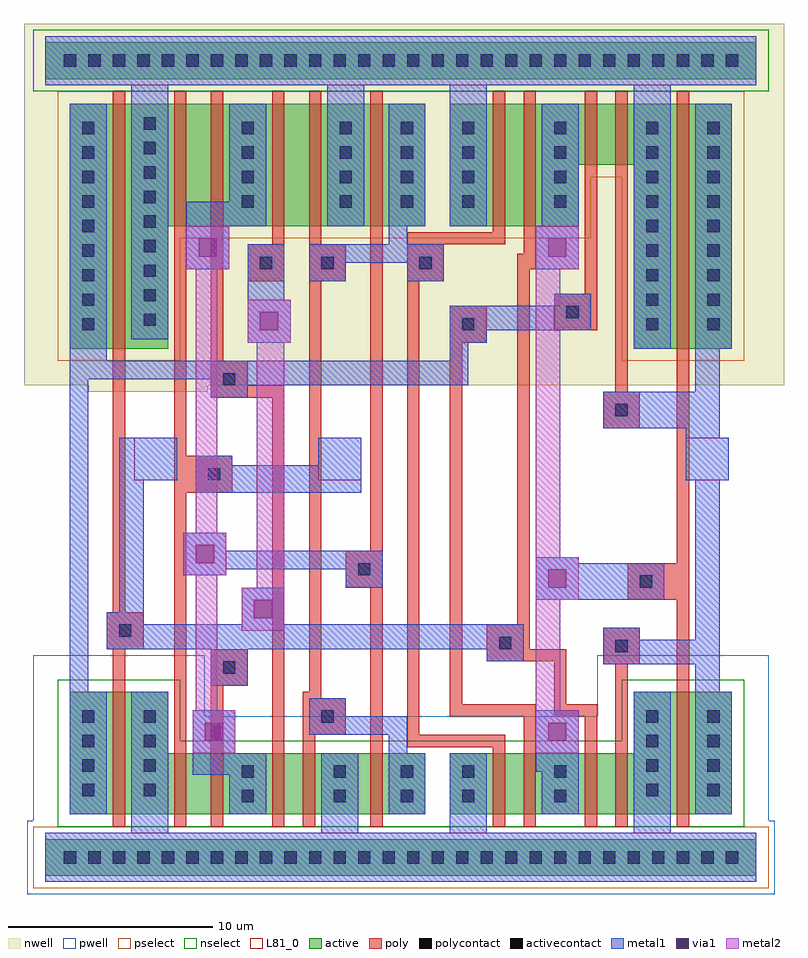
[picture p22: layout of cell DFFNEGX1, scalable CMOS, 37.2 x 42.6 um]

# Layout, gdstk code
import gdstk
lib = gdstk.Library(unit=1e-6, precision=1e-09)
def R(c, l, rs):  # rectangles x0, y0, x1, y1
    for r in rs: c.add(gdstk.rectangle(r[:2], r[2:], *l))
def A(c, l, x, y, w, h, nx, ny, dx, dy):  # array of equal rectangles
    R(c, l, [(x+i*dx, y+j*dy, x+i*dx+w, y+j*dy+h) for i in range(nx) for j in range(ny)])
pwell = (41, 0)
nwell = (42, 0)
active = (43, 0)
pselect = (44, 0)
nselect = (45, 0)
poly = (46, 0)
polycontact = (47, 0)
activecontact = (48, 0)
metal1 = (49, 0)
via1 = (50, 0)
metal2 = (51, 0)
L81_0 = (81, 0)

dffnegx1 = lib.new_cell('DFFNEGX1')
R(dffnegx1, pwell, [(-1.8,-1.8,34.8,1.8), (-1.5,1.8,34.5,6.9), (-1.5,6.9,6.9,9.9), (26.1,6.9,34.5,9.9)])
R(dffnegx1, nwell, [(1.2,22.8,7.05,23.1), (-1.95,23.1,35.25,40.8)])
R(dffnegx1, active, [(-0.9,-0.9,33.9,0.9), (0.3,2.1,17.7,5.1), (18.9,2.1,32.7,5.1), (0.3,5.1,5.1,8.1), (27.9,5.1,32.7,8.1), (0.3,24.9,5.1,30.9), (27.9,24.9,32.7,33.9), (0.3,30.9,17.7,36.9), (18.9,30.9,25.2,33.9), (18.9,33.9,32.7,36.9), (-0.9,38.1,33.9,39.9)])
R(dffnegx1, pselect, [(-1.5,-1.5,34.5,1.5), (-0.3,24.3,5.7,30.3), (27.3,24.3,33.3,33.3), (-0.3,30.3,25.8,33.3), (-0.3,33.3,33.3,37.5)])
R(dffnegx1, nselect, [(-0.3,1.5,33.3,5.7), (-0.3,5.7,5.7,8.7), (27.3,5.7,33.3,8.7), (-1.5,37.5,34.5,40.5)])
R(dffnegx1, poly, [(2.4,1.5,3,10.2), (5.4,1.5,6,17.85), (7.2,1.5,7.8,8.4), (10.2,1.5,10.8,22.5), (11.7,1.5,12.3,6), (15,1.5,15.6,13.2), (21,1.5,21.6,5.4), (22.5,1.5,23.1,6.9), (25.5,1.5,26.1,6.9), (27,1.5,27.6,9.45), (30,1.5,30.6,12.6), (16.8,5.4,21.6,6), (11.7,6,13.8,7.8), (16.8,6,17.4,28.2), (18.9,6.9,23.1,7.5), (24,6.9,26.1,7.5), (18.9,7.5,19.5,25.2), (24,7.5,24.6,9.6), (11.7,7.8,12.6,8.1), (12,8.1,12.6,28.2), (7.2,8.4,9,10.2), (26.4,9.45,28.2,11.25), (20.7,9.6,24.6,10.2), (2.1,10.2,3.9,12), (20.7,10.2,22.8,11.4), (22.2,11.4,22.8,28.8), (2.4,12,3,37.5), (27.6,12.6,30.6,14.4), (13.8,13.2,15.6,15), (30,14.4,30.6,37.5), (15,15,15.6,37.5), (5.4,17.85,8.25,19.65), (5.4,19.65,6,37.5), (26.4,21,28.2,22.8), (7.2,22.5,10.8,23.1), (27,22.8,27.6,37.5), (7.2,23.1,9,24.3), (7.2,24.3,7.8,37.5), (18.9,25.2,20.7,27), (24,25.8,26.1,27.6), (25.5,27.6,26.1,37.5), (9,28.2,10.8,30), (12,28.2,13.8,30), (16.8,28.2,18.6,30), (22.2,28.8,23.1,29.55), (22.5,29.55,23.1,37.5), (10.2,30,10.8,37.5), (12,30,12.6,37.5), (16.8,30,21.6,30.6), (21,30.6,21.6,37.5)])
R(dffnegx1, polycontact, [(12.6,6.6,13.2,7.2), (7.8,9,8.4,9.6), (27,10.05,27.6,10.65), (21.3,10.2,21.9,10.8), (2.7,10.8,3.3,11.4), (28.2,13.2,28.8,13.8), (14.4,13.8,15,14.4), (7.05,18.45,7.65,19.05), (27,21.6,27.6,22.2), (7.8,23.1,8.4,23.7), (19.5,25.8,20.1,26.4), (24.6,26.4,25.2,27), (9.6,28.8,10.2,29.4), (12.6,28.8,13.2,29.4), (17.4,28.8,18,29.4)])
A(dffnegx1, activecontact, 0, -0.3, 0.6, 0.6, 28, 2, 1.2, 39)
A(dffnegx1, activecontact, 0.9, 3, 0.6, 0.6, 1, 4, 0, 1.2)
A(dffnegx1, activecontact, 3.9, 3, 0.6, 0.6, 1, 4, 0, 1.2)
A(dffnegx1, activecontact, 28.5, 3, 0.6, 0.6, 1, 4, 0, 1.2)
A(dffnegx1, activecontact, 31.5, 3, 0.6, 0.6, 1, 4, 0, 1.2)
A(dffnegx1, activecontact, 0.9, 25.8, 0.6, 0.6, 1, 9, 0, 1.2)
A(dffnegx1, activecontact, 28.5, 25.8, 0.6, 0.6, 1, 9, 0, 1.2)
A(dffnegx1, activecontact, 31.5, 25.8, 0.6, 0.6, 1, 9, 0, 1.2)
A(dffnegx1, activecontact, 3.9, 26.02, 0.6, 0.6, 1, 9, 0, 1.2)
A(dffnegx1, activecontact, 8.7, 31.8, 0.6, 0.6, 1, 4, 0, 1.2)
A(dffnegx1, activecontact, 13.5, 31.8, 0.6, 0.6, 3, 4, 3, 1.2)
A(dffnegx1, activecontact, 24, 31.8, 0.6, 0.6, 1, 4, 0, 1.2)
R(dffnegx1, activecontact, [(8.7,2.7,9.3,3.3), (13.2,2.7,13.8,3.3), (16.5,2.7,17.1,3.3), (19.5,2.7,20.1,3.3), (24,2.7,24.6,3.3), (8.7,3.9,9.3,4.5), (13.2,3.9,13.8,4.5), (16.5,3.9,17.1,4.5), (19.5,3.9,20.1,4.5), (24,3.9,24.6,4.5)])
R(dffnegx1, metal1, [(-0.9,-1.2,33.9,1.2), (3.3,1.2,5.1,8.1), (12.6,1.2,14.4,5.1), (18.9,1.2,20.7,5.1), (27.9,1.2,29.7,8.1), (0.3,2.1,2.1,8.1), (8.1,2.1,9.9,4.05), (15.9,2.1,17.7,5.1), (23.4,2.1,25.2,4.2), (30.9,2.1,32.7,8.1), (6.3,4.05,9.9,5.1), (23.1,4.2,25.2,7.2), (6.3,5.1,8.4,7.2), (15.9,5.1,16.8,6), (12,6,16.8,6.9), (12,6.9,13.8,7.8), (0.3,8.1,1.2,23.4), (30.9,8.1,32.1,9.45), (7.2,8.4,9,10.2), (26.4,9.45,32.1,10.65), (20.7,9.6,22.5,10.2), (2.1,10.2,22.5,11.4), (26.4,10.65,28.2,11.25), (30.9,10.65,32.1,18.45), (2.1,11.4,3.9,12), (8.7,11.4,10.8,13.2), (2.7,12,3.9,18.45), (23.1,12.6,29.4,14.4), (13.8,13.2,15.6,14.1), (5.85,13.8,7.95,14.1), (5.85,14.1,15.6,15), (23.1,14.4,25.2,14.7), (5.85,15,7.95,15.9), (6.45,17.85,14.55,19.2), (2.7,18.45,5.55,20.55), (30.45,18.45,32.55,20.55), (6.45,19.2,8.25,19.65), (12.45,19.2,14.55,20.55), (30.45,20.55,32.1,21), (26.4,21,32.1,22.8), (7.2,22.5,9,23.1), (30.9,22.8,32.1,24.9), (7.2,23.1,19.8,23.4), (0.3,23.4,19.8,24.3), (0.3,24.3,2.1,36.9), (18.9,24.3,19.8,25.2), (27.9,24.9,29.7,37.8), (30.9,24.9,32.7,36.9), (9,25.2,11.1,27.3), (18.9,25.2,20.7,25.8), (3.3,25.35,5.1,37.8), (18.9,25.8,25.8,27), (24,27,25.8,27.6), (9,27.3,10.8,30), (12,28.2,13.8,29.1), (16.8,28.2,18.6,29.1), (6,28.8,8.1,30.9), (23.1,28.8,25.2,30.9), (12,29.1,18.6,30), (15.9,30,16.8,30.9), (6,30.9,9.9,32.1), (12.9,30.9,14.7,37.8), (15.9,30.9,17.7,36.9), (18.9,30.9,20.7,37.8), (23.4,30.9,25.2,36.9), (8.1,32.1,9.9,36.9), (-0.9,37.8,33.9,40.2)])
R(dffnegx1, via1, [(6.9,5.7,7.8,6.6), (23.7,5.7,24.6,6.6), (9.3,11.7,10.2,12.6), (23.7,13.2,24.6,14.1), (6.45,14.4,7.35,15.3), (9.6,25.8,10.5,26.7), (6.6,29.4,7.5,30.3), (23.7,29.4,24.6,30.3)])
R(dffnegx1, metal2, [(6.3,5.1,8.4,7.2), (23.1,5.1,25.2,7.2), (6.45,7.2,7.5,13.8), (23.1,7.2,24.3,12.6), (8.7,11.1,10.8,13.2), (23.1,12.6,25.2,14.7), (9.45,13.2,10.8,25.2), (5.85,13.8,7.95,15.9), (23.1,14.7,24.3,25.8), (6.45,15.9,7.5,28.8), (9,25.2,11.1,27.3), (23.1,25.8,24,27), (23.1,27,24.3,28.8), (6,28.8,8.1,30.9), (23.1,28.8,25.2,30.9)])
R(dffnegx1, L81_0, [(-0.9,-1.2,33.9,1.2), (3.45,18.45,5.55,20.55), (12.45,18.45,14.55,20.55), (30.45,18.45,32.55,20.55), (-0.9,37.8,33.9,40.2)])

lib.write_gds('DFFNEGX1.gds')
